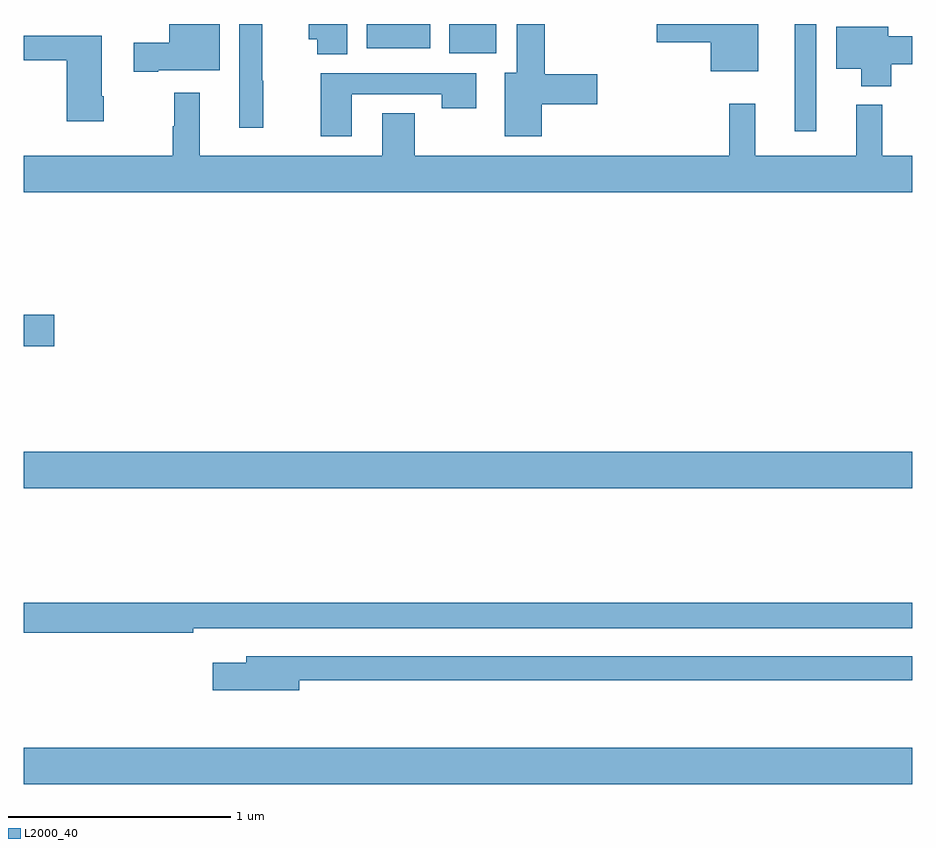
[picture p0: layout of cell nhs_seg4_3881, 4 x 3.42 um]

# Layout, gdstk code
import gdstk
lib = gdstk.Library(unit=1e-6, precision=1e-09)
def R(c, l, rs):  # rectangles x0, y0, x1, y1
    for r in rs: c.add(gdstk.rectangle(r[:2], r[2:], *l))
def P(c, l, *ps):  # polygons
    for p in ps: c.add(gdstk.Polygon(p, *l))
L2000_40 = (2000, 40)

nhs_seg4_3881 = lib.new_cell('nhs_seg4_3881')
R(nhs_seg4_3881, L2000_40, [(315,803.48,319,803.644), (315,804.812,319,804.976), (315,805.45,315.139,805.592), (318.47,806.418,318.567,806.9), (316.916,806.768,317.128,806.9), (316.544,806.792,316.831,806.9)])
P(nhs_seg4_3881, L2000_40, [(318.307,806.9),(317.85,806.9),(317.85,806.819),(318.092,806.819),(318.092,806.687),(318.307,806.687)],
  [(315.607,806.693),(315.883,806.693),(315.883,806.9),(315.656,806.9),(315.656,806.815),(315.495,806.815),(315.495,806.686),(315.607,806.686)],
  [(316.456,806.9),(316.283,806.9),(316.283,806.831),(316.322,806.831),(316.322,806.764),(316.456,806.764)],
  [(317.332,806.54),(317.581,806.54),(317.581,806.675),(317.345,806.675),(317.345,806.9),(317.219,806.9),(317.219,806.68),(317.165,806.68),(317.165,806.394),(317.332,806.394)],
  [(316.078,806.645),(316.075,806.645),(316.075,806.9),(315.971,806.9),(315.971,806.433),(316.078,806.433)],
  [(318.905,806.718),(319,806.718),(319,806.846),(318.892,806.846),(318.892,806.887),(318.656,806.887),(318.656,806.699),(318.77,806.699),(318.77,806.621),(318.905,806.621)],
  [(315.36,806.575),(315.352,806.575),(315.352,806.847),(315,806.847),(315,806.736),(315.194,806.736),(315.194,806.463),(315.36,806.463)],
  [(316.477,806.583),(316.882,806.583),(316.882,806.52),(317.038,806.52),(317.038,806.679),(316.337,806.679),(316.337,806.394),(316.477,806.394)],
  [(319,806.308),(318.863,806.308),(318.863,806.536),(318.746,806.536),(318.746,806.308),(318.293,806.308),(318.293,806.542),(318.175,806.542),(318.175,806.308),(316.761,806.308),(316.761,806.498),(316.613,806.498),(316.613,806.308),(315.793,806.308),(315.793,806.59),(315.679,806.59),(315.679,806.441),(315.672,806.441),(315.672,806.308),(315,806.308),(315,806.144),(319,806.144)],
  [(315.764,804.18),(319,804.18),(319,804.296),(315,804.296),(315,804.16),(315.764,804.16)],
  [(316.24,803.946),(319,803.946),(319,804.054),(316.001,804.054),(316.001,804.025),(315.852,804.025),(315.852,803.903),(316.24,803.903)])

lib.write_gds('nhs_seg4_3881.gds')
